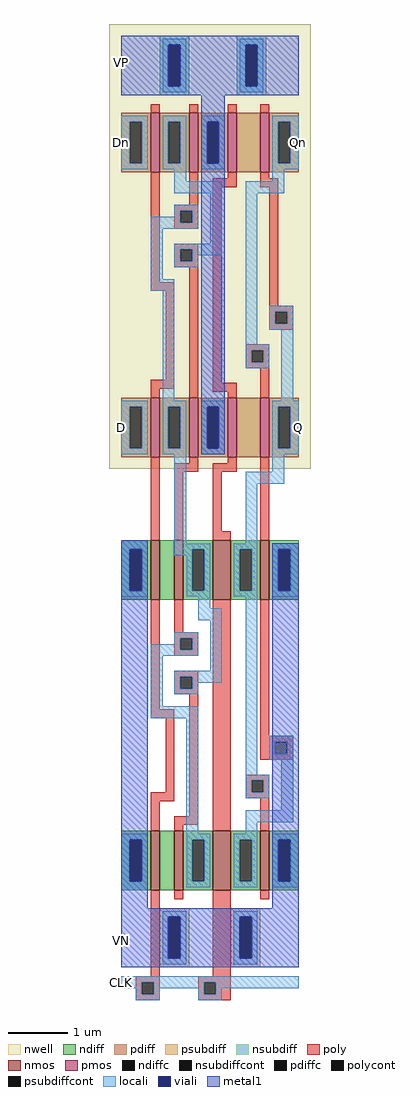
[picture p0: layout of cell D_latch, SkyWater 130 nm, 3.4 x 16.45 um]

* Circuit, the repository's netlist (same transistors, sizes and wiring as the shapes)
* SPICE3 file created from D_latch_lvs.ext - technology: sky130A


* Top level circuit D_latch_lvs

X0 a_30_840# CLK VN VN sky130_fd_pr__nfet_01v8 ad=2.5e+11p pd=2.5e+06u as=2e+12p ps=1.2e+07u w=1e+06u l=150000u
X1 VP a_30_1320# a_30_2280# VP sky130_fd_pr__pfet_01v8 ad=1e+12p pd=6e+06u as=5e+11p ps=3e+06u w=1e+06u l=150000u
X2 a_290_1320# CLK VP VP sky130_fd_pr__pfet_01v8 ad=4e+11p pd=2.8e+06u as=0p ps=0u w=1e+06u l=150000u
X3 Q Qn a_290_1320# VP sky130_fd_pr__pfet_01v8 ad=5e+11p pd=3e+06u as=0p ps=0u w=1e+06u l=150000u
X4 a_30_1320# CLK D VP sky130_fd_pr__pfet_01v8 ad=5e+11p pd=3e+06u as=5e+11p ps=3e+06u w=1e+06u l=150000u
X5 a_30_2280# a_30_1320# a_30_n140# VN sky130_fd_pr__nfet_01v8 ad=5e+11p pd=3e+06u as=2.5e+11p ps=2.5e+06u w=1e+06u l=150000u
X6 Qn CLK a_30_2280# VN sky130_fd_pr__nfet_01v8 ad=5e+11p pd=3e+06u as=0p ps=0u w=1e+06u l=300000u
X7 Q CLK a_30_1320# VN sky130_fd_pr__nfet_01v8 ad=5e+11p pd=3e+06u as=5e+11p ps=3e+06u w=1e+06u l=300000u
X8 a_290_2280# CLK VP VP sky130_fd_pr__pfet_01v8 ad=4e+11p pd=2.8e+06u as=0p ps=0u w=1e+06u l=150000u
X9 VN Q Qn VN sky130_fd_pr__nfet_01v8 ad=0p pd=0u as=0p ps=0u w=1e+06u l=150000u
X10 VP a_30_2280# a_30_1320# VP sky130_fd_pr__pfet_01v8 ad=0p pd=0u as=0p ps=0u w=1e+06u l=150000u
X11 a_30_n140# CLK VN VN sky130_fd_pr__nfet_01v8 ad=0p pd=0u as=0p ps=0u w=1e+06u l=150000u
X12 Qn Q a_290_2280# VP sky130_fd_pr__pfet_01v8 ad=5e+11p pd=3e+06u as=0p ps=0u w=1e+06u l=150000u
X13 a_30_2280# CLK Dn VP sky130_fd_pr__pfet_01v8 ad=0p pd=0u as=5e+11p ps=3e+06u w=1e+06u l=150000u
X14 a_30_1320# a_30_2280# a_30_840# VN sky130_fd_pr__nfet_01v8 ad=0p pd=0u as=0p ps=0u w=1e+06u l=150000u
X15 VN Qn Q VN sky130_fd_pr__nfet_01v8 ad=0p pd=0u as=0p ps=0u w=1e+06u l=150000u
.end

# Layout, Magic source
magic
tech sky130A
<< nwell >>
rect -70 640 270 1390
<< nmos >>
rect 0 420 15 520
rect 40 420 55 520
rect 105 420 135 520
rect 185 420 200 520
rect 0 -70 15 30
rect 40 -70 55 30
rect 105 -70 135 30
rect 185 -70 200 30
<< pmos >>
rect 0 1140 15 1240
rect 65 1140 80 1240
rect 130 1140 145 1240
rect 185 1140 200 1240
rect 0 660 15 760
rect 65 660 80 760
rect 130 660 145 760
rect 185 660 200 760
<< ndiff >>
rect -50 505 0 520
rect -50 435 -35 505
rect -15 435 0 505
rect -50 420 0 435
rect 15 420 40 520
rect 55 505 105 520
rect 55 435 70 505
rect 90 435 105 505
rect 55 420 105 435
rect 135 505 185 520
rect 135 435 150 505
rect 170 435 185 505
rect 135 420 185 435
rect 200 505 250 520
rect 200 435 215 505
rect 235 435 250 505
rect 200 420 250 435
rect -50 15 0 30
rect -50 -55 -35 15
rect -15 -55 0 15
rect -50 -70 0 -55
rect 15 -70 40 30
rect 55 15 105 30
rect 55 -55 70 15
rect 90 -55 105 15
rect 55 -70 105 -55
rect 135 15 185 30
rect 135 -55 150 15
rect 170 -55 185 15
rect 135 -70 185 -55
rect 200 15 250 30
rect 200 -55 215 15
rect 235 -55 250 15
rect 200 -70 250 -55
<< pdiff >>
rect -50 1225 0 1240
rect -50 1155 -35 1225
rect -15 1155 0 1225
rect -50 1140 0 1155
rect 15 1225 65 1240
rect 15 1155 30 1225
rect 50 1155 65 1225
rect 15 1140 65 1155
rect 80 1225 130 1240
rect 80 1155 95 1225
rect 115 1155 130 1225
rect 80 1140 130 1155
rect 145 1140 185 1240
rect 200 1225 250 1240
rect 200 1155 215 1225
rect 235 1155 250 1225
rect 200 1140 250 1155
rect -50 745 0 760
rect -50 675 -35 745
rect -15 675 0 745
rect -50 660 0 675
rect 15 745 65 760
rect 15 675 30 745
rect 50 675 65 745
rect 15 660 65 675
rect 80 745 130 760
rect 80 675 95 745
rect 115 675 130 745
rect 80 660 130 675
rect 145 660 185 760
rect 200 745 250 760
rect 200 675 215 745
rect 235 675 250 745
rect 200 660 250 675
<< ndiffc >>
rect -35 435 -15 505
rect 70 435 90 505
rect 150 435 170 505
rect 215 435 235 505
rect -35 -55 -15 15
rect 70 -55 90 15
rect 150 -55 170 15
rect 215 -55 235 15
<< pdiffc >>
rect -35 1155 -15 1225
rect 30 1155 50 1225
rect 95 1155 115 1225
rect 215 1155 235 1225
rect -35 675 -15 745
rect 30 675 50 745
rect 95 675 115 745
rect 215 675 235 745
<< psubdiff >>
rect 15 -115 65 -100
rect 15 -185 30 -115
rect 50 -185 65 -115
rect 15 -200 65 -185
rect 135 -115 185 -100
rect 135 -185 150 -115
rect 170 -185 185 -115
rect 135 -200 185 -185
<< nsubdiff >>
rect 15 1355 65 1370
rect 15 1285 30 1355
rect 50 1285 65 1355
rect 15 1270 65 1285
rect 145 1355 195 1370
rect 145 1285 160 1355
rect 180 1285 195 1355
rect 145 1270 195 1285
<< psubdiffcont >>
rect 30 -185 50 -115
rect 150 -185 170 -115
<< nsubdiffcont >>
rect 30 1285 50 1355
rect 160 1285 180 1355
<< poly >>
rect 0 1240 15 1255
rect 65 1240 80 1255
rect 130 1240 145 1255
rect 185 1240 200 1255
rect 0 955 15 1140
rect 65 1085 80 1140
rect 130 1130 145 1140
rect 40 1075 80 1085
rect 40 1055 50 1075
rect 70 1055 80 1075
rect 40 1045 80 1055
rect 105 1115 145 1130
rect 185 1130 200 1140
rect 185 1115 215 1130
rect 40 1010 80 1020
rect 40 990 50 1010
rect 70 990 80 1010
rect 40 980 80 990
rect 0 940 40 955
rect 25 790 40 940
rect 0 775 40 790
rect 0 760 15 775
rect 65 760 80 980
rect 105 785 120 1115
rect 200 915 215 1115
rect 200 905 240 915
rect 200 885 210 905
rect 230 885 240 905
rect 200 875 240 885
rect 160 840 200 850
rect 160 820 170 840
rect 190 820 200 840
rect 160 810 200 820
rect 105 770 145 785
rect 130 760 145 770
rect 185 760 200 810
rect 0 520 15 660
rect 65 650 80 660
rect 130 650 145 660
rect 40 635 80 650
rect 105 635 145 650
rect 40 520 55 635
rect 105 535 120 635
rect 105 520 135 535
rect 185 520 200 660
rect 0 235 15 420
rect 40 365 55 420
rect 40 355 80 365
rect 40 335 50 355
rect 70 335 80 355
rect 40 325 80 335
rect 40 290 80 300
rect 40 270 50 290
rect 70 270 80 290
rect 40 260 80 270
rect 0 220 40 235
rect 25 95 40 220
rect 0 80 40 95
rect 0 30 15 80
rect 65 55 80 260
rect 40 40 80 55
rect 40 30 55 40
rect 105 30 135 420
rect 185 190 200 420
rect 185 180 240 190
rect 185 160 210 180
rect 230 160 240 180
rect 185 150 240 160
rect 160 115 200 125
rect 160 95 170 115
rect 190 95 200 115
rect 160 85 200 95
rect 185 30 200 85
rect 0 -215 15 -70
rect 40 -85 55 -70
rect 105 -215 135 -70
rect 185 -85 200 -70
rect -25 -225 15 -215
rect -25 -245 -15 -225
rect 5 -245 15 -225
rect -25 -255 15 -245
rect 80 -225 135 -215
rect 80 -245 90 -225
rect 110 -245 135 -225
rect 80 -255 135 -245
<< polycont >>
rect 50 1055 70 1075
rect 50 990 70 1010
rect 210 885 230 905
rect 170 820 190 840
rect 50 335 70 355
rect 50 270 70 290
rect 210 160 230 180
rect 170 95 190 115
rect -15 -245 5 -225
rect 90 -245 110 -225
<< locali >>
rect 20 1355 60 1365
rect 20 1285 30 1355
rect 50 1285 60 1355
rect 20 1275 60 1285
rect 150 1355 190 1365
rect 150 1285 160 1355
rect 180 1285 190 1355
rect 150 1275 190 1285
rect -50 1225 -5 1235
rect -50 1155 -35 1225
rect -15 1155 -5 1225
rect -50 1145 -5 1155
rect 20 1225 60 1235
rect 20 1155 30 1225
rect 50 1155 60 1225
rect 20 1145 60 1155
rect 85 1225 125 1235
rect 85 1155 95 1225
rect 115 1155 125 1225
rect 85 1145 125 1155
rect 205 1225 250 1235
rect 205 1155 215 1225
rect 235 1155 250 1225
rect 205 1145 250 1155
rect 40 1125 60 1145
rect 205 1125 225 1145
rect 40 1105 120 1125
rect 40 1075 80 1085
rect 40 1065 50 1075
rect 0 1055 50 1065
rect 70 1055 80 1075
rect 0 1045 80 1055
rect 0 960 20 1045
rect 100 1020 120 1105
rect 40 1010 120 1020
rect 40 990 50 1010
rect 70 1000 120 1010
rect 160 1105 225 1125
rect 70 990 80 1000
rect 40 980 80 990
rect 0 940 40 960
rect 20 755 40 940
rect 160 850 180 1105
rect 200 905 240 915
rect 200 885 210 905
rect 230 885 240 905
rect 200 875 240 885
rect 160 840 200 850
rect 160 820 170 840
rect 190 820 200 840
rect 160 810 200 820
rect 220 755 240 875
rect -50 745 -5 755
rect -50 675 -35 745
rect -15 675 -5 745
rect -50 665 -5 675
rect 20 745 60 755
rect 20 675 30 745
rect 50 675 60 745
rect 20 665 60 675
rect 85 745 125 755
rect 85 675 95 745
rect 115 675 125 745
rect 85 665 125 675
rect 205 745 250 755
rect 205 675 215 745
rect 235 675 250 745
rect 205 665 250 675
rect -50 505 -5 520
rect -50 435 -35 505
rect -15 435 -5 505
rect 40 515 60 665
rect 205 635 225 665
rect 160 615 225 635
rect 160 515 180 615
rect 40 505 100 515
rect 40 495 70 505
rect -50 425 -5 435
rect 60 435 70 495
rect 90 435 100 505
rect 60 425 100 435
rect 140 505 180 515
rect 140 435 150 505
rect 170 435 180 505
rect 140 425 180 435
rect 205 505 250 515
rect 205 435 215 505
rect 235 435 250 505
rect 205 425 250 435
rect 80 405 100 425
rect 80 385 120 405
rect 40 355 80 365
rect 40 345 50 355
rect 0 335 50 345
rect 70 335 80 355
rect 0 325 80 335
rect 0 240 20 325
rect 100 300 120 385
rect 40 290 120 300
rect 40 270 50 290
rect 70 280 120 290
rect 70 270 80 280
rect 40 260 80 270
rect 0 220 80 240
rect 60 25 80 220
rect 160 125 180 425
rect 200 180 240 190
rect 200 160 210 180
rect 230 160 240 180
rect 200 150 240 160
rect 160 115 200 125
rect 160 95 170 115
rect 190 95 200 115
rect 160 85 200 95
rect 220 65 240 150
rect 160 45 240 65
rect 160 25 180 45
rect -50 15 -5 25
rect -50 -55 -35 15
rect -15 -55 -5 15
rect -50 -70 -5 -55
rect 60 15 100 25
rect 60 -55 70 15
rect 90 -55 100 15
rect 60 -65 100 -55
rect 140 15 180 25
rect 140 -55 150 15
rect 170 -55 180 15
rect 140 -65 180 -55
rect 205 15 250 25
rect 205 -55 215 15
rect 235 -55 250 15
rect 205 -65 250 -55
rect 20 -115 60 -105
rect 20 -185 30 -115
rect 50 -185 60 -115
rect 20 -195 60 -185
rect 140 -115 180 -105
rect 140 -185 150 -115
rect 170 -185 180 -115
rect 140 -195 180 -185
rect -50 -225 250 -215
rect -50 -235 -15 -225
rect -25 -245 -15 -235
rect 5 -235 90 -225
rect 5 -245 15 -235
rect -25 -255 15 -245
rect 80 -245 90 -235
rect 110 -235 250 -225
rect 110 -245 120 -235
rect 80 -255 120 -245
<< viali >>
rect 30 1285 50 1355
rect 160 1285 180 1355
rect 95 1155 115 1225
rect 95 675 115 745
rect -35 435 -15 505
rect 215 435 235 505
rect -35 -55 -15 15
rect 215 -55 235 15
rect 30 -185 50 -115
rect 150 -185 170 -115
<< metal1 >>
rect -50 1355 250 1370
rect -50 1285 30 1355
rect 50 1285 160 1355
rect 180 1285 250 1355
rect -50 1270 250 1285
rect 85 1225 125 1270
rect 85 1155 95 1225
rect 115 1155 125 1225
rect 85 745 125 1155
rect 85 675 95 745
rect 115 675 125 745
rect 85 665 125 675
rect -50 505 -5 520
rect -50 435 -35 505
rect -15 435 -5 505
rect -50 15 -5 435
rect -50 -55 -35 15
rect -15 -55 -5 15
rect -50 -100 -5 -55
rect 205 505 250 515
rect 205 435 215 505
rect 235 435 250 505
rect 205 15 250 435
rect 205 -55 215 15
rect 235 -55 250 15
rect 205 -100 250 -55
rect -50 -115 250 -100
rect -50 -185 30 -115
rect 50 -185 150 -115
rect 170 -185 250 -115
rect -50 -200 250 -185
<< labels >>
rlabel locali -50 710 -50 710 7 D
port 2 w
rlabel locali -50 1190 -50 1190 7 Dn
port 1 w
rlabel metal1 -50 1325 -50 1325 7 VP
port 6 w
rlabel metal1 -50 -155 -50 -155 7 VN
port 7 w
rlabel locali -50 -225 -50 -225 7 CLK
port 5 w
rlabel locali 250 1190 250 1190 3 Qn
port 3 e
rlabel locali 250 710 250 710 3 Q
port 4 e
<< end >>
